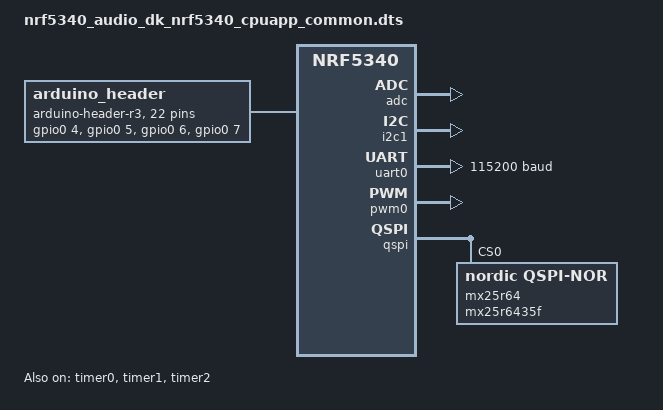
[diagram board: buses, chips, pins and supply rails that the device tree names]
/*
 * Copyright (c) 2020-2022 Nordic Semiconductor ASA
 *
 * SPDX-License-Identifier: LicenseRef-Nordic-5-Clause
 */
#include "nrf5340_audio_dk_nrf5340_cpuapp_common-pinctrl.dtsi"

#include <zephyr/dt-bindings/sensor/ina230.h>

/ {
	chosen {
		zephyr,console = &uart0;
		zephyr,shell-uart = &uart0;
		zephyr,uart-mcumgr = &uart0;
		zephyr,bt-mon-uart = &uart0;
		zephyr,bt-c2h-uart = &uart0;
		zephyr,bt-hci-rpmsg-ipc = &ipc0;
	};

 	gpio_fwd: nrf-gpio-forwarder {
                compatible = "nordic,nrf-gpio-forwarder";
                status = "okay";
                uart {
                        gpios = <&gpio1 1 0>, <&gpio1 0 0>, <&gpio0 11 0>, <&gpio0 10 0>;
                };
        };

	arduino_header: connector {
                compatible = "arduino-header-r3";
                #gpio-cells = <2>;
                gpio-map-mask = <0xffffffff 0xffffffc0>;
                gpio-map-pass-thru = <0 0x3f>;
                gpio-map = <0 0 &gpio0 4 0>,    /* A0 */
                           <1 0 &gpio0 5 0>,    /* A1 */
                           <2 0 &gpio0 6 0>,    /* A2 */
                           <3 0 &gpio0 7 0>,    /* A3 */
                           <4 0 &gpio0 25 0>,   /* A4 */
                           <5 0 &gpio0 26 0>,   /* A5 */
                           <6 0 &gpio1 0 0>,    /* D0 */
                           <7 0 &gpio1 1 0>,    /* D1 */
                           <8 0 &gpio1 4 0>,    /* D2 */
                           <9 0 &gpio1 5 0>,    /* D3 */
                           <10 0 &gpio1 6 0>,   /* D4 */
                           <11 0 &gpio1 7 0>,   /* D5 */
                           <12 0 &gpio1 8 0>,   /* D6 */
                           <13 0 &gpio1 9 0>,   /* D7 */
                           <14 0 &gpio1 10 0>,  /* D8 */
                           <15 0 &gpio1 11 0>,  /* D9 */
                           <16 0 &gpio1 12 0>,  /* D10 */
                           <17 0 &gpio1 13 0>,  /* D11 */
                           <18 0 &gpio1 14 0>,  /* D12 */
                           <19 0 &gpio1 15 0>,  /* D13 */
                           <20 0 &gpio1 2 0>,   /* D14 */
                           <21 0 &gpio1 3 0>;   /* D15 */
        };
};

&adc {
	status = "okay";
};

&gpiote {
	status = "okay";
};

&gpio0 {
	status = "okay";
};

&gpio1 {
	status = "okay";
};

&i2c1 {
        compatible = "nordic,nrf-twim";
        status = "okay";
        pinctrl-0 = <&i2c1_default>;
        pinctrl-1 = <&i2c1_sleep>;
        pinctrl-names = "default", "sleep";
};

&uart0 {
        status = "okay";
        current-speed = <115200>;
        pinctrl-0 = <&uart0_default>;
        pinctrl-1 = <&uart0_sleep>;
        pinctrl-names = "default", "sleep";
};

&pwm0 {
        status = "okay";
        pinctrl-0 = <&pwm0_default>;
        pinctrl-1 = <&pwm0_sleep>;
        pinctrl-names = "default", "sleep";
};

&qspi {
        status = "okay";
        pinctrl-0 = <&qspi_default>;
        pinctrl-1 = <&qspi_sleep>;
        pinctrl-names = "default", "sleep";
        mx25r64: mx25r6435f@0 {
                compatible = "nordic,qspi-nor";
                reg = <0>;
                /* MX25R64 supports only pp and pp4io */
                writeoc = "pp4io";
                /* MX25R64 supports all readoc options */
                readoc = "read4io";
                sck-frequency = <8000000>;
                jedec-id = [c2 28 17];
                sfdp-bfp = [
                        e5 20 f1 ff  ff ff ff 03  44 eb 08 6b  08 3b 04 bb
                        ee ff ff ff  ff ff 00 ff  ff ff 00 ff  0c 20 0f 52
                        10 d8 00 ff  23 72 f5 00  82 ed 04 cc  44 83 68 44
                        30 b0 30 b0  f7 c4 d5 5c  00 be 29 ff  f0 d0 ff ff
                ];
                size = <67108864>;
                has-dpd;
                t-enter-dpd = <10000>;
                t-exit-dpd = <35000>;
        };
};

&timer0 {
        status = "okay";
};

&timer1 {
        status = "okay";
};

&timer2 {
        status = "okay";
};

&flash0 {

        partitions {
                compatible = "fixed-partitions";
                #address-cells = <1>;
                #size-cells = <1>;

                boot_partition: partition@0 {
                        label = "mcuboot";
                        reg = <0x00000000 0x00010000>;
                };
                slot0_partition: partition@10000 {
                        label = "image-0";
                };
                slot0_ns_partition: partition@50000 {
                        label = "image-0-nonsecure";
                };
                slot1_partition: partition@80000 {
                        label = "image-1";
                };
                slot1_ns_partition: partition@c0000 {
                        label = "image-1-nonsecure";
                };
                scratch_partition: partition@f0000 {
                        label = "image-scratch";
                        reg = <0x000f0000 0xa000>;
                };
                storage_partition: partition@fa000 {
                        label = "storage";
                        reg = <0x000fa000 0x00006000>;
                };
        };
};

/ {

        reserved-memory {
                #address-cells = <1>;
                #size-cells = <1>;
                ranges;

                sram0_image: image@20000000 {
                        /* Zephyr image(s) memory */
                };

                sram0_s: image_s@20000000 {
                        /* Secure image memory */
                };

                sram0_ns: image_ns@20040000 {
                        /* Non-Secure image memory */
                };
        };
};

/* Include partition configuration file */
#include "nrf5340_audio_dk_nrf5340_cpuapp_partition_conf.dts"
#include "nrf5340_audio_dk_nrf5340_shared.dts"
